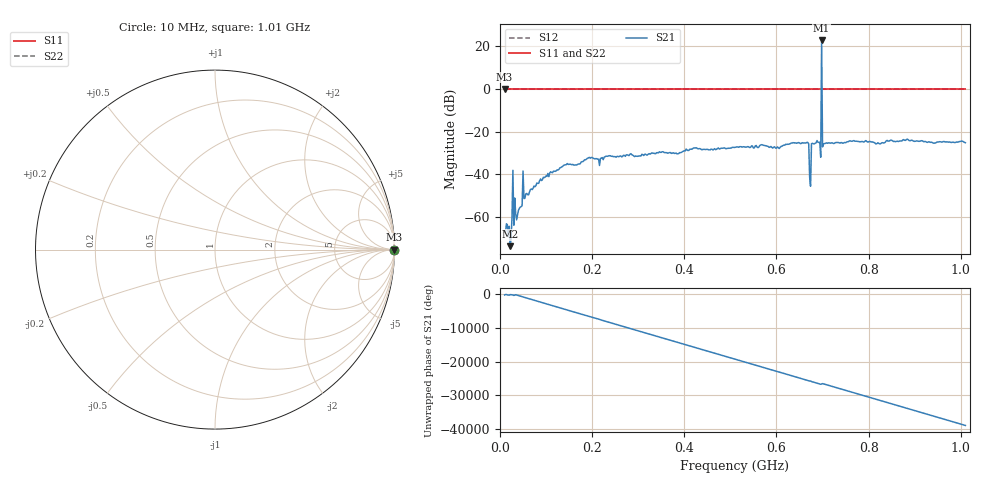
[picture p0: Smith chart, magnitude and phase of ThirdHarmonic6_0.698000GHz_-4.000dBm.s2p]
! 8/15/2025 11:18:35 PM
! C:\ANRITSUVNA\TEMP\TEMP.S2P
! CHANNEL.1
! TR.MEASUREMENT
! RAW.DATA
! RF.CORRECTION.OFF
! AVERAGING.OFF
! IF.BANDWIDTH: 5KHZ
! SWEEPTYPE:  FREQ.SWEEP(Linear)
! Reference Plane Port Info
! PORT:  PORT1  PORT2
! DISTANCE:  0  m  0  m
! TIME:  0  s  0  s
! PHASE.OFFSET:  0  deg.  0  deg.
! LOSS:  0  dB  0  dB
! REF.LOSS:  0  dB  0  dB
! REF.FREQ:  0  Hz  0  Hz
! Power Info
! POWER:  -20  dBm  -20  dBm
! EFF.POWER:  -20  dBm  -20  dBm
! SOURCE.ATTEN:  0  dB  0  dB
! TEST.ATTEN:  0  dB  0  dB
# GHZ S RI R 50.0
! FREQ.GHZ  S11RE  S11IM  S21RE  S21IM  S12RE  S12IM  S22RE  S22IM
!; PortSelection: Port_12
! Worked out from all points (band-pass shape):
!   501 points, 10 MHz to 1.01 GHz, reference 50 ohm
!   highest |S21| = 22.80 dB at 698 MHz (marker M1); lowest = -73.8 dB at 22 MHz (marker M2)
!   |S21| within 3 dB of the highest: 697.8907 MHz to 698.1199 MHz (229.3 kHz wide, 0.0328 % of centre)
!   lowest |S11| = 0.0 dB at 10 MHz (marker M3)
!   |S11| at or under -10 dB: nowhere
!   |S22| runs from 0.0 to 0.0 dB; largest |S21 - S12| = 13
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0.01  1 0  -0.000387 -0.000182  1 0  1 0
0.022  1 0  0.000136 -0.000151  1 0  1 0
0.024  1 0  0.000177 -0.000248  1 0  1 0
0.03  1 0  0.000163 0.00061  1 0  1 0
0.038  1 0  -0.000629 0.000877  1 0  1 0
0.054  1 0  -0.0027 3.83e-05  1 0  1 0
0.056  1 0  -0.000802 0.00333  1 0  1 0
0.142  1 0  -0.0154 -0.00608  1 0  1 0
0.178  1 0  -0.0191 -0.00437  1 0  1 0
0.344  1 0  0.0308 -0.00709  1 0  1 0
0.51  1 0  -0.0392 0.0164  1 0  1 0
0.664  1 0  0.00628 0.0532  1 0  1 0
0.67  1 0  -0.0483 -0.0169  1 0  1 0
0.678  1 0  -0.0265 -0.0458  1 0  1 0
0.68  1 0  -0.0483 0.0183  1 0  1 0
0.692  1 0  0.0445 0.0331  1 0  1 0
0.694  1 0  0.0405 -0.0397  1 0  1 0
0.698  1 0  12.9 -4.926  1 0  1 0
0.702  1 0  0.0506 -0.00826  1 0  1 0
0.704  1 0  0.00249 -0.052  1 0  1 0
0.844  1 0  0.0454 0.0386  1 0  1 0
1.01  1 0  -0.0534 -0.011  1 0  1 0
